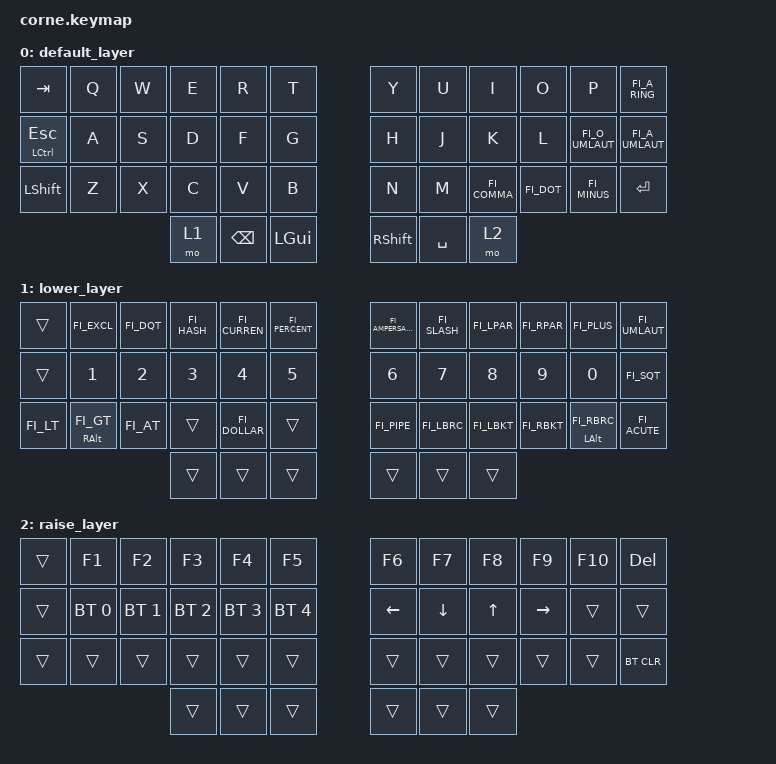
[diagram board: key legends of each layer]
/*
 * Copyright (c) 2020 The ZMK Contributors
 *
 * SPDX-License-Identifier: MIT
 */

#include "keys_fi.h"
#include <behaviors.dtsi>
#include <dt-bindings/zmk/bt.h>
#include <dt-bindings/zmk/keys.h>

/ {
    keymap {
        compatible = "zmk,keymap";

        default_layer {
            // -----------------------------------------------------------------------------------------
            // |  TAB |  Q  |  W  |  E  |  R  |  T  |   |  Y  |  U   |  I  |  O  |  P  | BSPC |
            // | CTRL |  A  |  S  |  D  |  F  |  G  |   |  H  |  J   |  K  |  L  |  ;  |  '   |
            // | SHFT |  Z  |  X  |  C  |  V  |  B  |   |  N  |  M   |  ,  |  .  |  /  | ESC  |
            //                    | GUI | LWR | SPC |   | ENT | RSE  | ALT |

            bindings = <
&kp TAB                  &kp Q  &kp W  &kp E  &kp R          &kp T       &kp Y            &kp U      &kp I         &kp O       &kp P            &kp FI_A_RING
&mt LEFT_CONTROL ESCAPE  &kp A  &kp S  &kp D  &kp F          &kp G       &kp H            &kp J      &kp K         &kp L       &kp FI_O_UMLAUT  &kp FI_A_UMLAUT
&kp LSHFT                &kp Z  &kp X  &kp C  &kp V          &kp B       &kp N            &kp M      &kp FI_COMMA  &kp FI_DOT  &kp FI_MINUS     &kp ENTER
                                       &mo 1  &kp BACKSPACE  &kp LGUI    &kp RIGHT_SHIFT  &kp SPACE  &mo 2
            >;
        };

        lower_layer {
            // -----------------------------------------------------------------------------------------
            // |  TAB |  1  |  2  |  3  |  4  |  5  |   |  6  |  7  |  8  |  9  |  0  | BSPC |
            // | BTCLR| BT1 | BT2 | BT3 | BT4 | BT5 |   | LFT | DWN |  UP | RGT |     |      |
            // | SHFT |     |     |     |     |     |   |     |     |     |     |     |      |
            //                    | GUI |     | SPC |   | ENT |     | ALT |

            bindings = <
&trans     &kp FI_EXCL          &kp FI_DQT  &kp FI_HASH  &kp FI_CURREN  &kp FI_PERCENT    &kp FI_AMPERSAND  &kp FI_SLASH  &kp FI_LPAR  &kp FI_RPAR  &kp FI_PLUS           &kp FI_UMLAUT
&trans     &kp N1               &kp N2      &kp N3       &kp N4         &kp N5            &kp N6            &kp N7        &kp N8       &kp N9       &kp N0                &kp FI_SQT
&kp FI_LT  &mt RIGHT_ALT FI_GT  &kp FI_AT   &trans       &kp FI_DOLLAR  &trans            &kp FI_PIPE       &kp FI_LBRC   &kp FI_LBKT  &kp FI_RBKT  &mt LEFT_ALT FI_RBRC  &kp FI_ACUTE
                                            &trans       &trans         &trans            &trans            &trans        &trans
            >;
        };

        raise_layer {
            // -----------------------------------------------------------------------------------------
            // |  TAB |  !  |  @  |  #  |  $  |  %  |   |  ^  |  &  |  *  |  (  |  )  | BSPC |
            // | CTRL |     |     |     |     |     |   |  -  |  =  |  [  |  ]  |  \  |  `   |
            // | SHFT |     |     |     |     |     |   |  _  |  +  |  {  |  }  | "|" |  ~   |
            //                    | GUI |     | SPC |   | ENT |     | ALT |

            bindings = <
&trans  &kp F1        &kp F2        &kp F3        &kp F4        &kp F5          &kp F6    &kp F7    &kp F8  &kp F9     &kp F10     &kp DELETE
&trans  &bt BT_SEL 0  &bt BT_SEL 1  &bt BT_SEL 2  &bt BT_SEL 3  &bt BT_SEL 4    &kp LEFT  &kp DOWN  &kp UP  &kp RIGHT  &trans      &trans
&trans  &trans        &trans        &trans        &trans        &trans          &trans    &trans    &trans  &trans     &trans      &bt BT_CLR
                                    &trans        &trans        &trans          &trans    &trans    &trans
            >;
        };
    };
};

